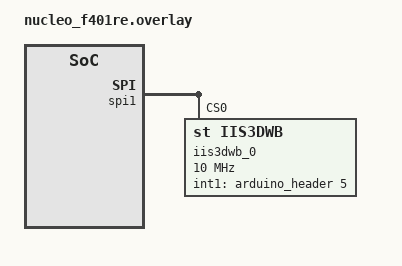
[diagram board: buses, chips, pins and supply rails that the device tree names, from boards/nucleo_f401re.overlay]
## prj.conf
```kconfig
CONFIG_STDOUT_CONSOLE=y
CONFIG_SENSOR=y
CONFIG_SENSOR_ASYNC_API=y
CONFIG_LSM6DSV16X_STREAM=y
CONFIG_LSM6DSV16X_ENABLE_TEMP=y
CONFIG_CBPRINTF_FP_SUPPORT=y
```

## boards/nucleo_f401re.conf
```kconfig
# Copyright (c) 2024 STMicroelectronics
# SPDX-License-Identifier: Apache-2.0

CONFIG_SPI_RTIO=y
#CONFIG_LSM6DSV16X_STREAM=y
#CONFIG_LSM6DSV16X_ENABLE_TEMP=y
#CONFIG_LIS2DUX12_STREAM=y
#CONFIG_LIS2DUX12_ENABLE_TEMP=y
```

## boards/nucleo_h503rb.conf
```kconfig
# Copyright (c) 2024 STMicroelectronics
# SPDX-License-Identifier: Apache-2.0

CONFIG_LOG=y

CONFIG_I2C_RTIO=y
#CONFIG_SPI_RTIO=y

CONFIG_SENSOR_ASYNC_API=y
CONFIG_LSM6DSVXXX_ENABLE_TEMP=y
```

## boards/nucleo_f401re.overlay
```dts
/*
 * Copyright (c) 2024 STMicroelectronics
 *
 * SPDX-License-Identifier: Apache-2.0
 */
#include <zephyr/dt-bindings/sensor/lsm6dsv16x.h>
#include <zephyr/dt-bindings/sensor/lis2dux12.h>
#include <zephyr/dt-bindings/sensor/iis3dwb.h>


/*
 * Nucleo F401RE board + shield iks4a1
 *
 * This devicetree overlay file will be automatically picked by the Zephyr
 * build system when building the sample for the nucleo_f401re board.
 */

/ {
	aliases {
		//stream0 = &lsm6dsv16x_6b_x_nucleo_iks4a1;
		//accel0 = &lis2dux12_0;
		accel0 = &iis3dwb_0;
	};
};

#if 0
&arduino_i2c {
	lsm6dsv16x_6b_x_nucleo_iks4a1: lsm6dsv16x@6b {
		compatible = "st,lsm6dsv16x";
		reg = <0x6b>;
		accel-odr = <LSM6DSV16X_DT_ODR_AT_120Hz>;
		accel-range = <LSM6DSV16X_DT_FS_16G>;
		int2-gpios =  <&arduino_header 10 GPIO_ACTIVE_HIGH>; /* D4 (PB5) */
		drdy-pin = <2>;
		drdy-pulsed;
	};
};
#endif

#if 0
&spi1 {
	lis2dux12_0: lis2dux12@0 {
		compatible = "st,lis2dux12";

		reg = <0>;
		spi-max-frequency = <DT_FREQ_M(10)>;

		power-mode = <LIS2DUX12_OPER_MODE_HIGH_PERFORMANCE>;
		odr = <LIS2DUX12_DT_ODR_100Hz>;
		range = <LIS2DUX12_DT_FS_16G>;

		int1-gpios =  <&arduino_header 5 GPIO_ACTIVE_HIGH>; /* A5 (PC0) */
	};
};
#endif

&spi1 {
	iis3dwb_0: iis3dwb@0 {
		compatible = "st,iis3dwb";

		reg = <0>;
		spi-max-frequency = <DT_FREQ_M(10)>;

		range = <IIS3DWB_DT_FS_16G>;
		odr = <IIS3DWB_DT_ODR_26k7Hz>;
		filter = <IIS3DWB_DT_LP_ODR_DIV_4>;
		int1-gpios =  <&arduino_header 5 GPIO_ACTIVE_HIGH>; /* A5 (PC0) */
	};
};
```

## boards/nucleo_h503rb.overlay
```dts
/*
 * Copyright (c) 2024 STMicroelectronics
 *
 * SPDX-License-Identifier: Apache-2.0
 */
#include <zephyr/dt-bindings/sensor/lsm6dsv320x.h>


/*
 * Nucleo F401RE board + shield iks4a1
 *
 * This devicetree overlay file will be automatically picked by the Zephyr
 * build system when building the sample for the nucleo_f401re board.
 */

/ {
	aliases {
		//accel0 = &lsm6dsv320x_spi;
		accel0 = &lsm6dsv320x_iks5a1;
	};
};

&arduino_i2c {
	#if 1
	lsm6dsv320x_iks5a1: lsm6dsv320x@6a {
		compatible = "st,lsm6dsv320x";

		reg = <0x6a>;

		accel-odr = <LSM6DSVXXX_DT_ODR_AT_480Hz>;
		#accel-hg-odr = <LSM6DSV320X_HG_XL_ODR_AT_480Hz>;
		accel-range = <LSM6DSV320X_DT_FS_16G>;
		gyro-odr = <LSM6DSVXXX_DT_ODR_AT_480Hz>;
		gyro-range = <LSM6DSV320X_DT_FS_500DPS>;
	};
	#endif
};

&spi1 {
	#if 0
	lsm6dsv320x_spi: lsm6dsv320x@0 {
		compatible = "st,lsm6dsv320x";

		reg = <0>;
		spi-max-frequency = <DT_FREQ_M(10)>;

		accel-odr = <LSM6DSVXXX_DT_ODR_AT_480Hz>;
		#accel-hg-odr = <LSM6DSV320X_HG_XL_ODR_AT_480Hz>;
		accel-range = <LSM6DSV320X_DT_FS_16G>;
		gyro-odr = <LSM6DSVXXX_DT_ODR_AT_480Hz>;
		gyro-range = <LSM6DSV320X_DT_FS_500DPS>;
	};
	#endif
};
```

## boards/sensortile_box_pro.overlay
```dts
/*
 * Copyright (c) 2025 STMicroelectronics
 *
 * SPDX-License-Identifier: Apache-2.0
 */
#include <zephyr/dt-bindings/sensor/lsm6dsv16x.h>


/*
 * This devicetree overlay file will be automatically picked by the Zephyr
 * build system when building the sample for the sensortile_box_pro board.
 */

/ {
	aliases {
		accel0 = &lsm6dsv16x_0;
	};
};

&spi2 {
	lsm6dsv16x_0: lsm6dsv16x@0 {
		compatible = "st,lsm6dsv16x";

		accel-odr = <LSM6DSV16X_DT_ODR_AT_480Hz>;
		accel-range = <LSM6DSV16X_DT_FS_16G>;
		gyro-odr = <LSM6DSV16X_DT_ODR_AT_480Hz>;
		gyro-range = <LSM6DSV16X_DT_FS_500DPS>;
		fifo-watermark = <64>;
		accel-fifo-batch-rate = <LSM6DSV16X_DT_XL_BATCHED_AT_15Hz>;
		gyro-fifo-batch-rate = <LSM6DSV16X_DT_GY_BATCHED_AT_15Hz>;
		temp-fifo-batch-rate = <LSM6DSV16X_DT_TEMP_BATCHED_AT_15Hz>;

		sflp-odr = <LSM6DSV16X_DT_SFLP_ODR_AT_15Hz>;
		sflp-fifo-enable = <LSM6DSV16X_DT_SFLP_FIFO_GAME_ROTATION_GRAVITY_GBIAS>;
	};
};
```

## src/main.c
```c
/*
 * Copyright (c) 2022 TOKITA Hiroshi <tokita.hiroshi@fujitsu.com
 *
 * SPDX-License-Identifier: Apache-2.0
 */

#include <stdio.h>
#include <stdlib.h>

#include <zephyr/device.h>
#include <zephyr/drivers/sensor.h>
#include <zephyr/sys/util_macro.h>
#include <zephyr/kernel.h>
#include <zephyr/rtio/rtio.h>
#include <zephyr/drivers/sensor.h>

#define ACCEL_ALIAS(i) DT_ALIAS(_CONCAT(accel, i))
#define ACCELEROMETER_DEVICE(i, _)                                                           \
	IF_ENABLED(DT_NODE_EXISTS(ACCEL_ALIAS(i)), (DEVICE_DT_GET(ACCEL_ALIAS(i)),))
#define NUM_SENSORS 1

/* support up to 10 accelerometer sensors */
static const struct device *const sensors[] = {LISTIFY(10, ACCELEROMETER_DEVICE, ())};

#define ACCEL_IODEV_SYM(id) CONCAT(accel_iodev, id)
#define ACCEL_IODEV_PTR(id, _) &ACCEL_IODEV_SYM(id)

#define ACCEL_DEFINE_IODEV(id, _)         \
	SENSOR_DT_READ_IODEV(               \
		ACCEL_IODEV_SYM(id),              \
		ACCEL_ALIAS(id),                  \
		{SENSOR_CHAN_ACCEL_XYZ, 0}, \
		{SENSOR_CHAN_DIE_TEMP, 0});

LISTIFY(NUM_SENSORS, ACCEL_DEFINE_IODEV, (;));

struct rtio_iodev *iodevs[NUM_SENSORS] = { LISTIFY(NUM_SENSORS, ACCEL_IODEV_PTR, (,)) };

RTIO_DEFINE_WITH_MEMPOOL(accel_ctx, NUM_SENSORS, NUM_SENSORS, NUM_SENSORS*20, 256, sizeof(void *));

int main(void)
{
	int rc;

	for (size_t i = 0; i < ARRAY_SIZE(sensors); i++) {
		if (!device_is_ready(sensors[i])) {
			printk("sensor: device %s not ready.\n", sensors[i]->name);
			return 0;
		}
	}

	while (1) {
		for (size_t i = 0; i < ARRAY_SIZE(sensors); i++) {
			struct device *dev = (struct device *) sensors[i];

			uint8_t buf[128];

			rc = sensor_read(iodevs[i], &accel_ctx, buf, 128);

			if (rc != 0) {
				printk("%s: sensor_read() failed: %d\n", dev->name, rc);
				return rc;
			}

			const struct sensor_decoder_api *decoder;

			rc = sensor_get_decoder(dev, &decoder);

			if (rc != 0) {
				printk("%s: sensor_get_decode() failed: %d\n", dev->name, rc);
				return rc;
			}

			uint32_t accel_fit = 0;
			struct sensor_three_axis_data accel_data = {0};

			/* decode and print Accelerometer FIFO frames */
			decoder->decode(buf, (struct sensor_chan_spec) {SENSOR_CHAN_ACCEL_XYZ, 0},
				&accel_fit, 8, &accel_data);

			printk("XL data for %s %lluns (%" PRIq(6) ", %" PRIq(6)
			       ", %" PRIq(6) ")\n", dev->name,
			       PRIsensor_three_axis_data_arg(accel_data, 0));

			uint32_t temp_fit = 0;
			struct sensor_q31_data temp_data = {0};

			decoder->decode(buf, (struct sensor_chan_spec) {SENSOR_CHAN_DIE_TEMP, 0},
				&temp_fit, 1, &temp_data);

			//printk("TP data for %s temp is %s%d.%d °C \n", dev->name,
				//PRIq_arg(temp_data.readings[0].temperature, 2, temp_data.shift));
		}
		k_msleep(500);
	}
	return 0;
}
```
